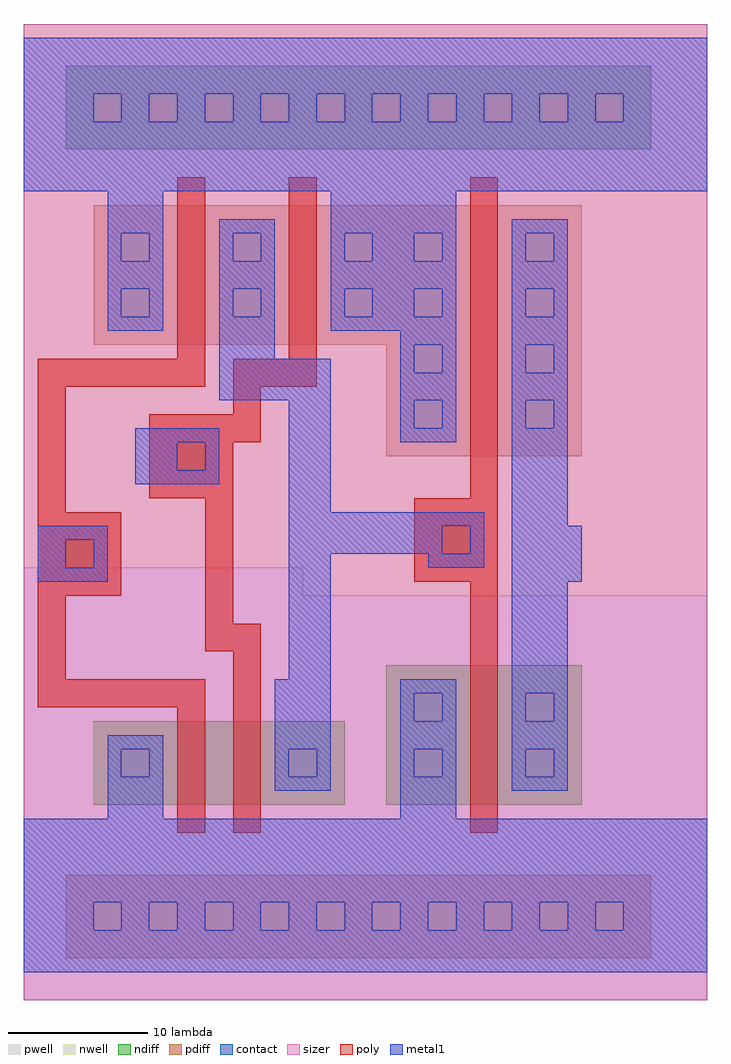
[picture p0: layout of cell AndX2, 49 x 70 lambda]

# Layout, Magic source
magic
tech LibreSilicon-test000-concept-mg-70-7
<< sizer >>
rect 0 0 49 70
<< metal1 >>
rect 0 65 49 69
rect 0 63 5 65
rect 7 63 9 65
rect 11 63 13 65
rect 15 63 17 65
rect 19 63 21 65
rect 23 63 25 65
rect 27 63 29 65
rect 31 63 33 65
rect 35 63 37 65
rect 39 63 41 65
rect 43 63 49 65
rect 0 58 49 63
rect 6 55 10 58
rect 22 55 31 58
rect 14 55 18 56
rect 35 55 39 56
rect 6 53 7 55
rect 9 53 10 55
rect 14 53 15 55
rect 17 53 18 55
rect 22 53 23 55
rect 25 53 28 55
rect 30 53 31 55
rect 35 53 36 55
rect 38 53 39 55
rect 6 51 10 53
rect 14 51 18 53
rect 22 51 31 53
rect 35 51 39 53
rect 6 49 7 51
rect 9 49 10 51
rect 14 49 15 51
rect 17 49 18 51
rect 22 49 23 51
rect 25 49 28 51
rect 30 49 31 51
rect 35 49 36 51
rect 38 49 39 51
rect 6 48 10 49
rect 14 46 18 49
rect 22 48 31 49
rect 35 47 39 49
rect 27 47 31 48
rect 27 45 28 47
rect 30 45 31 47
rect 35 45 36 47
rect 38 45 39 47
rect 14 43 22 46
rect 27 43 31 45
rect 35 43 39 45
rect 19 35 22 43
rect 27 41 28 43
rect 30 41 31 43
rect 35 41 36 43
rect 38 41 39 43
rect 8 40 14 41
rect 27 40 31 41
rect 35 34 39 41
rect 8 38 11 40
rect 13 38 14 40
rect 8 37 14 38
rect 19 34 33 35
rect 1 33 6 34
rect 19 32 30 34
rect 32 32 33 34
rect 35 30 40 34
rect 1 31 3 33
rect 5 31 6 33
rect 19 23 22 32
rect 29 31 33 32
rect 1 30 6 31
rect 35 22 39 30
rect 18 18 22 23
rect 27 22 31 23
rect 27 20 28 22
rect 30 20 31 22
rect 35 20 36 22
rect 38 20 39 22
rect 27 18 31 20
rect 35 18 39 20
rect 6 18 10 19
rect 6 16 7 18
rect 9 16 10 18
rect 18 16 19 18
rect 21 16 22 18
rect 27 16 28 18
rect 30 16 31 18
rect 35 16 36 18
rect 38 16 39 18
rect 6 13 10 16
rect 18 15 22 16
rect 27 13 31 16
rect 35 15 39 16
rect 0 7 49 13
rect 0 5 5 7
rect 7 5 9 7
rect 11 5 13 7
rect 15 5 17 7
rect 19 5 21 7
rect 23 5 25 7
rect 27 5 29 7
rect 31 5 33 7
rect 35 5 37 7
rect 39 5 41 7
rect 43 5 49 7
rect 0 2 49 5
<< contact >>
rect 5 63 7 65
rect 9 63 11 65
rect 13 63 15 65
rect 17 63 19 65
rect 21 63 23 65
rect 25 63 27 65
rect 29 63 31 65
rect 33 63 35 65
rect 37 63 39 65
rect 41 63 43 65
rect 7 53 9 55
rect 15 53 17 55
rect 23 53 25 55
rect 28 53 30 55
rect 36 53 38 55
rect 7 49 9 51
rect 15 49 17 51
rect 23 49 25 51
rect 28 49 30 51
rect 36 49 38 51
rect 28 45 30 47
rect 36 45 38 47
rect 28 41 30 43
rect 36 41 38 43
rect 11 38 13 40
rect 30 32 32 34
rect 3 31 5 33
rect 28 20 30 22
rect 36 20 38 22
rect 7 16 9 18
rect 19 16 21 18
rect 28 16 30 18
rect 36 16 38 18
rect 5 5 7 7
rect 9 5 11 7
rect 13 5 15 7
rect 17 5 19 7
rect 21 5 23 7
rect 25 5 27 7
rect 29 5 31 7
rect 33 5 35 7
rect 37 5 39 7
rect 41 5 43 7
<< poly >>
rect 11 46 13 59
rect 19 46 21 59
rect 32 36 34 59
rect 1 44 13 46
rect 15 44 21 46
rect 1 35 3 44
rect 15 42 17 44
rect 9 40 17 42
rect 9 36 15 40
rect 13 27 15 36
rect 28 30 34 36
rect 1 29 7 35
rect 32 12 34 30
rect 1 23 3 29
rect 13 25 17 27
rect 15 12 17 25
rect 1 21 13 23
rect 11 12 13 21
<< ndiff >>
rect 3 61 45 67
rect 26 14 40 24
rect 5 14 23 20
<< pdiff >>
rect 5 47 40 57
rect 26 39 40 47
rect 3 3 45 9
<< nwell >>
rect 0 31 49 70
rect 20 29 49 31
<< pwell >>
rect 0 29 20 31
rect 0 0 49 29
<< end >>
